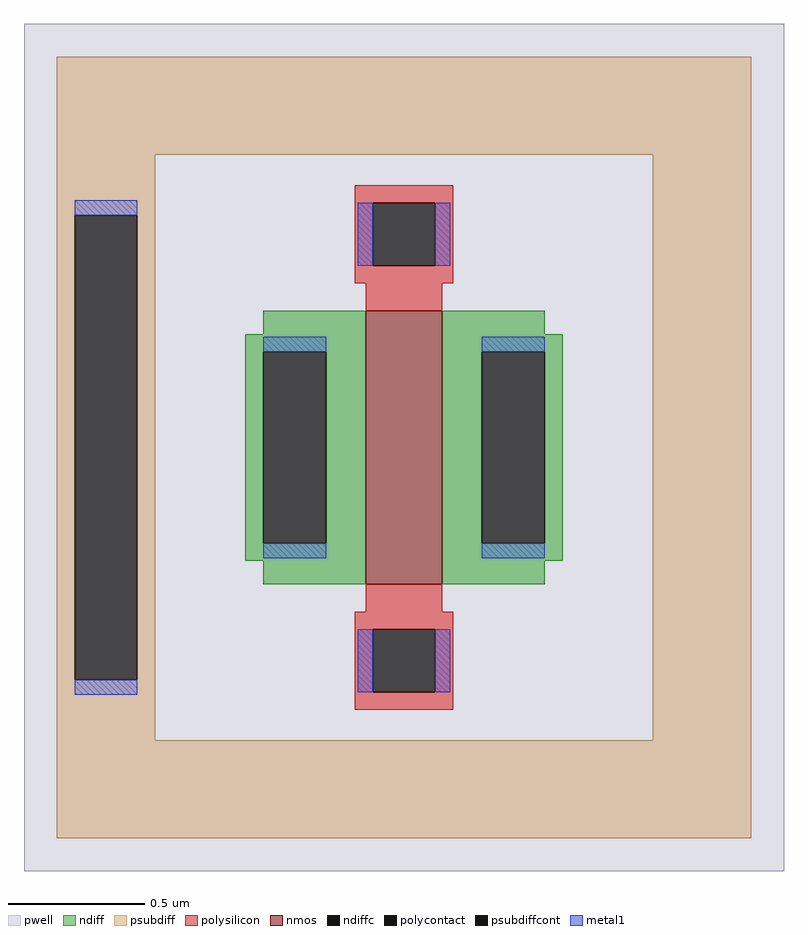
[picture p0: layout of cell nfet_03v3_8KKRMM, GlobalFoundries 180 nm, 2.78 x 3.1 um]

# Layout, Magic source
magic
tech gf180mcuD
magscale 1 10
<< pwell >>
rect -278 -310 278 310
<< nmos >>
rect -28 -100 28 100
<< ndiff >>
rect -103 83 -28 100
rect -116 70 -28 83
rect -116 -70 -103 70
rect -57 -70 -28 70
rect -116 -83 -28 -70
rect -103 -100 -28 -83
rect 28 83 103 100
rect 28 70 116 83
rect 28 -70 57 70
rect 103 -70 116 70
rect 28 -83 116 -70
rect 28 -100 103 -83
<< ndiffc >>
rect -103 -70 -57 70
rect 57 -70 103 70
<< psubdiff >>
rect -254 214 254 286
rect -254 170 -182 214
rect -254 -170 -241 170
rect -195 -170 -182 170
rect -254 -214 -182 -170
rect 182 -214 254 214
rect -254 -286 254 -214
<< psubdiffcont >>
rect -241 -170 -195 170
<< polysilicon >>
rect -36 179 36 192
rect -36 133 -23 179
rect 23 133 36 179
rect -36 120 36 133
rect -28 100 28 120
rect -28 -120 28 -100
rect -36 -133 36 -120
rect -36 -179 -23 -133
rect 23 -179 36 -133
rect -36 -192 36 -179
<< polycontact >>
rect -23 133 23 179
rect -23 -179 23 -133
<< metal1 >>
rect -241 170 -195 181
rect -34 133 -23 179
rect 23 133 34 179
rect -103 70 -57 81
rect -103 -81 -57 -70
rect 57 70 103 81
rect 57 -81 103 -70
rect -241 -181 -195 -170
rect -34 -179 -23 -133
rect 23 -179 34 -133
<< properties >>
string FIXED_BBOX -218 -250 218 250
string gencell nfet_03v3
string library gf180mcu
string parameters w 1.0 l 0.28 m 1 nf 1 diffcov 80 polycov 100 guard 1 glc 1 grc 0 gtc 0 gbc 0 tbcov 100 rlcov 100 topc 1 botc 1 poverlap 0 doverlap 1 lmin 0.28 wmin 0.22 class mosfet full_metal 0 compatible {nfet_03v3 nfet_05v0 nfet_06v0 nfet_06v0_nvt}
<< end >>
